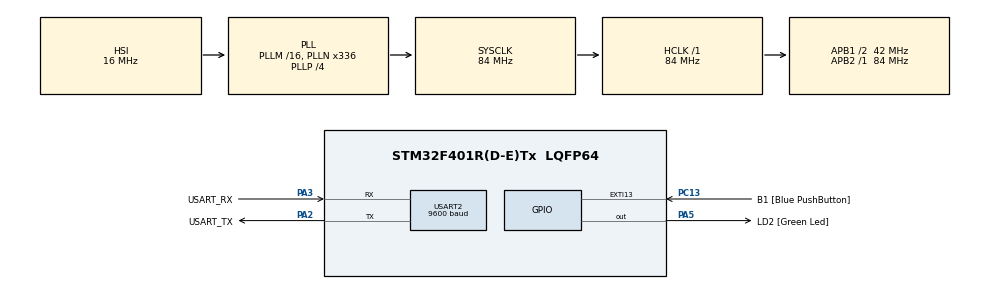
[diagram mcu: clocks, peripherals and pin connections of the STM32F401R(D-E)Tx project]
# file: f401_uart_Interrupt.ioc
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Mcu.Family=STM32F4
Mcu.Name=STM32F401R(D-E)Tx
Mcu.Package=LQFP64
NVIC.PriorityGroup=NVIC_PRIORITYGROUP_0
NVIC.USART2_IRQn=true\:0\:0\:false\:false\:true\:true\:true
PA13.GPIO_Label=TMS
PA13.Mode=Serial_Wire
PA13.Signal=SYS_JTMS-SWDIO
PA14.GPIO_Label=TCK
PA14.Mode=Serial_Wire
PA14.Signal=SYS_JTCK-SWCLK
PA2.GPIO_Label=USART_TX
PA2.GPIO_Mode=GPIO_MODE_AF_PP
PA2.GPIO_PuPd=GPIO_NOPULL
PA2.GPIO_Speed=GPIO_SPEED_FREQ_LOW
PA2.Mode=Asynchronous
PA2.Signal=USART2_TX
PA3.GPIO_Label=USART_RX
PA3.GPIO_Mode=GPIO_MODE_AF_PP
PA3.GPIO_PuPd=GPIO_NOPULL
PA3.GPIO_Speed=GPIO_SPEED_FREQ_LOW
PA3.Mode=Asynchronous
PA3.Signal=USART2_RX
PA5.GPIO_Label=LD2 [Green Led]
PA5.GPIO_Mode=GPIO_MODE_OUTPUT_PP
PA5.GPIO_PuPd=GPIO_NOPULL
PA5.GPIO_Speed=GPIO_SPEED_FREQ_LOW
PA5.Signal=GPIO_Output
PB3.GPIO_Label=SWO
PB3.Signal=SYS_JTDO-SWO
PC13-ANTI_TAMP.GPIO_Label=B1 [Blue PushButton]
PC13-ANTI_TAMP.GPIO_ModeDefaultEXTI=GPIO_MODE_IT_FALLING
PC13-ANTI_TAMP.GPIO_PuPd=GPIO_NOPULL
PC13-ANTI_TAMP.Signal=GPXTI13
PC14-OSC32_IN.Mode=LSE-External-Oscillator
PC14-OSC32_IN.Signal=RCC_OSC32_IN
PC15-OSC32_OUT.Mode=LSE-External-Oscillator
PC15-OSC32_OUT.Signal=RCC_OSC32_OUT
PH0\ -\ OSC_IN.Mode=HSE-External-Clock-Source
PH0\ -\ OSC_IN.Signal=RCC_OSC_IN
PH1\ -\ OSC_OUT.Mode=HSE-External-Clock-Source
PH1\ -\ OSC_OUT.Signal=RCC_OSC_OUT
ProjectManager.HeapSize=0x200
ProjectManager.StackSize=0x400
ProjectManager.TargetToolchain=STM32CubeIDE
RCC.48MHZClocksFreq_Value=48000000
RCC.AHBFreq_Value=84000000
RCC.APB1CLKDivider=RCC_HCLK_DIV2
RCC.APB1Freq_Value=42000000
RCC.APB1TimFreq_Value=84000000
RCC.APB2Freq_Value=84000000
RCC.APB2TimFreq_Value=84000000
RCC.CortexFreq_Value=84000000
RCC.HCLKFreq_Value=84000000
RCC.HSE_VALUE=8000000
RCC.HSI_VALUE=16000000
RCC.PLLN=336
RCC.PLLP=RCC_PLLP_DIV4
RCC.PLLQ=7
RCC.SYSCLKFreq_VALUE=84000000
RCC.SYSCLKSource=RCC_SYSCLKSOURCE_PLLCLK
RCC.VCOOutputFreq_Value=336000000
USART2.BaudRate=9600
USART2.VirtualMode=VM_ASYNC
board=NUCLEO-F401RE

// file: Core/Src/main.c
/* USER CODE BEGIN Header */
/**
  ******************************************************************************
  * @file           : main.c
  * @brief          : Main program body
  ******************************************************************************
  * @attention
  *
  * <h2><center>&copy; Copyright (c) 2022 STMicroelectronics.
  * All rights reserved.</center></h2>
  *
  * This software component is licensed by ST under BSD 3-Clause license,
  * the "License"; You may not use this file except in compliance with the
  * License. You may obtain a copy of the License at:
  *                        opensource.org/licenses/BSD-3-Clause
  *
  ******************************************************************************
  */
/* USER CODE END Header */
#include "main.h"
//#include <stdio.h>
#include <stdlib.h>

UART_HandleTypeDef huart2;

void SystemClock_Config(void);
static void MX_GPIO_Init(void);
static void MX_USART2_UART_Init(void);

/* USER CODE BEGIN 0 */
int gUartReceived = 0;

/* USER CODE END 0 */

int main(void)
{
  /* USER CODE BEGIN 1 */
	uint8_t buffer[256];
	int res=0;

  /* USER CODE END 1 */

  /* MCU Configuration--------------------------------------------------------*/

  /* Reset of all peripherals, Initializes the Flash interface and the Systick. */
  HAL_Init();

  /* Configure the system clock */
  SystemClock_Config();

  /* Initialize all configured peripherals */
  MX_GPIO_Init();
  MX_USART2_UART_Init();
  /* USER CODE BEGIN 2 */
  printf("Start uart intrrupt\r\n");

  /* USER CODE END 2 */

  /* Infinite loop */
  while (1)
  {

    /* USER CODE BEGIN 3 */
		HAL_UART_Receive_IT(&huart2, buffer,6);
		while (gUartReceived == 0)
		{
			;
		}
//		HAL_UART_Transmit_IT(&huart2, pos, sizeof(pos));

		res=atol(buffer);
//		if(abs(res)>MAX_POS)printf("pos ERORR %d\r\n",res);
		printf("position is %d\r\n",res);
		gUartReceived = 0;
  }
  /* USER CODE END 3 */
}

void SystemClock_Config(void)
{
  RCC_OscInitTypeDef RCC_OscInitStruct = {0};
  RCC_ClkInitTypeDef RCC_ClkInitStruct = {0};

  /** Configure the main internal regulator output voltage
  */
  __HAL_RCC_PWR_CLK_ENABLE();
  __HAL_PWR_VOLTAGESCALING_CONFIG(PWR_REGULATOR_VOLTAGE_SCALE2);
  /** Initializes the RCC Oscillators according to the specified parameters
  * in the RCC_OscInitTypeDef structure.
  */
  RCC_OscInitStruct.OscillatorType = RCC_OSCILLATORTYPE_HSI;
  RCC_OscInitStruct.HSIState = RCC_HSI_ON;
  RCC_OscInitStruct.HSICalibrationValue = RCC_HSICALIBRATION_DEFAULT;
  RCC_OscInitStruct.PLL.PLLState = RCC_PLL_ON;
  RCC_OscInitStruct.PLL.PLLSource = RCC_PLLSOURCE_HSI;
  RCC_OscInitStruct.PLL.PLLM = 16;
  RCC_OscInitStruct.PLL.PLLN = 336;
  RCC_OscInitStruct.PLL.PLLP = RCC_PLLP_DIV4;
  RCC_OscInitStruct.PLL.PLLQ = 7;
  if (HAL_RCC_OscConfig(&RCC_OscInitStruct) != HAL_OK)
  {
    Error_Handler();
  }
  /** Initializes the CPU, AHB and APB buses clocks
  */
  RCC_ClkInitStruct.ClockType = RCC_CLOCKTYPE_HCLK|RCC_CLOCKTYPE_SYSCLK
                              |RCC_CLOCKTYPE_PCLK1|RCC_CLOCKTYPE_PCLK2;
  RCC_ClkInitStruct.SYSCLKSource = RCC_SYSCLKSOURCE_PLLCLK;
  RCC_ClkInitStruct.AHBCLKDivider = RCC_SYSCLK_DIV1;
  RCC_ClkInitStruct.APB1CLKDivider = RCC_HCLK_DIV2;
  RCC_ClkInitStruct.APB2CLKDivider = RCC_HCLK_DIV1;

  if (HAL_RCC_ClockConfig(&RCC_ClkInitStruct, FLASH_LATENCY_2) != HAL_OK)
  {
    Error_Handler();
  }
}

static void MX_USART2_UART_Init(void)
{

  huart2.Instance = USART2;
  huart2.Init.BaudRate = 9600;
  huart2.Init.WordLength = UART_WORDLENGTH_8B;
  huart2.Init.StopBits = UART_STOPBITS_1;
  huart2.Init.Parity = UART_PARITY_NONE;
  huart2.Init.Mode = UART_MODE_TX_RX;
  huart2.Init.HwFlowCtl = UART_HWCONTROL_NONE;
  huart2.Init.OverSampling = UART_OVERSAMPLING_16;
  if (HAL_UART_Init(&huart2) != HAL_OK)
  {
    Error_Handler();
  }

}

static void MX_GPIO_Init(void)
{
  GPIO_InitTypeDef GPIO_InitStruct = {0};

  /* GPIO Ports Clock Enable */
  __HAL_RCC_GPIOC_CLK_ENABLE();
  __HAL_RCC_GPIOH_CLK_ENABLE();
  __HAL_RCC_GPIOA_CLK_ENABLE();
  __HAL_RCC_GPIOB_CLK_ENABLE();

  /*Configure GPIO pin Output Level */
  HAL_GPIO_WritePin(LD2_GPIO_Port, LD2_Pin, GPIO_PIN_RESET);

  /*Configure GPIO pin : B1_Pin */
  GPIO_InitStruct.Pin = B1_Pin;
  GPIO_InitStruct.Mode = GPIO_MODE_IT_FALLING;
  GPIO_InitStruct.Pull = GPIO_NOPULL;
  HAL_GPIO_Init(B1_GPIO_Port, &GPIO_InitStruct);

  /*Configure GPIO pin : LD2_Pin */
  GPIO_InitStruct.Pin = LD2_Pin;
  GPIO_InitStruct.Mode = GPIO_MODE_OUTPUT_PP;
  GPIO_InitStruct.Pull = GPIO_NOPULL;
  GPIO_InitStruct.Speed = GPIO_SPEED_FREQ_LOW;
  HAL_GPIO_Init(LD2_GPIO_Port, &GPIO_InitStruct);

}

/* USER CODE BEGIN 4 */
void HAL_UART_RxCpltCallback(UART_HandleTypeDef *huart)
{
	gUartReceived = 1;
}

int _write(int file, char *ptr, int len)
{
  HAL_UART_Transmit(&huart2,(uint8_t *)ptr,len,50);
  return len;
}
/* USER CODE END 4 */

void Error_Handler(void)
{
  __disable_irq();
  while (1)
  {
  }
}

/************************ (C) COPYRIGHT STMicroelectronics *****END OF FILE****/
